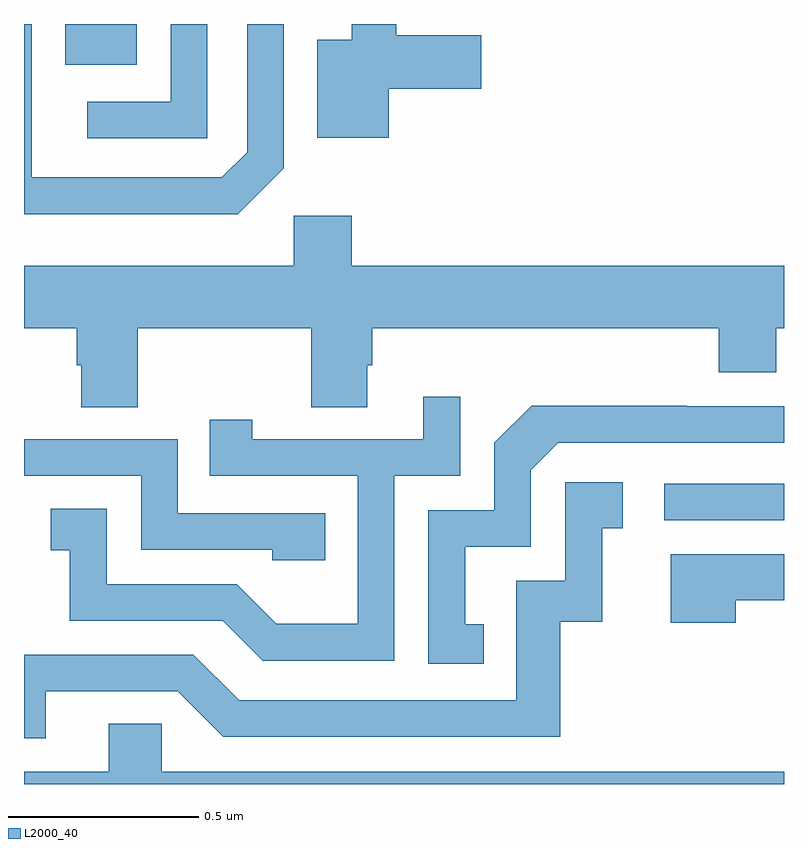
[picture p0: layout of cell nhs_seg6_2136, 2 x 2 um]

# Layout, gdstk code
import gdstk
lib = gdstk.Library(unit=1e-6, precision=1e-09)
def R(c, l, rs):  # rectangles x0, y0, x1, y1
    for r in rs: c.add(gdstk.rectangle(r[:2], r[2:], *l))
def P(c, l, *ps):  # polygons
    for p in ps: c.add(gdstk.Polygon(p, *l))
L2000_40 = (2000, 40)

nhs_seg6_2136 = lib.new_cell('nhs_seg6_2136')
R(nhs_seg6_2136, L2000_40, [(140.685,916.194,141,916.29), (139.109,917.393,139.297,917.5)])
P(nhs_seg6_2136, L2000_40, [(139.96,917.329),(140.203,917.329),(140.203,917.471),(139.979,917.471),(139.979,917.5),(139.862,917.5),(139.862,917.458),(139.772,917.458),(139.772,917.201),(139.96,917.201)],
  [(139.482,917.5),(139.386,917.5),(139.386,917.295),(139.167,917.295),(139.167,917.199),(139.482,917.199)],
  [(139.683,917.121),(139.683,917.5),(139.587,917.5),(139.587,917.163),(139.521,917.097),(139.021,917.097),(139.021,917.297),(139.02,917.297),(139.02,917.5),(139,917.5),(139,917),(139.562,917)],
  [(139.299,916.7),(139.756,916.7),(139.756,916.492),(139.903,916.492),(139.903,916.602),(139.916,916.602),(139.916,916.7),(140.828,916.7),(140.828,916.583),(140.98,916.583),(140.98,916.7),(141,916.7),(141,916.864),(139.862,916.864),(139.862,916.996),(139.71,916.996),(139.71,916.864),(139,916.864),(139,916.7),(139.139,916.7),(139.139,916.602),(139.151,916.602),(139.151,916.492),(139.299,916.492)],
  [(139.974,916.311),(140.148,916.311),(140.148,916.519),(140.051,916.519),(140.051,916.407),(139.6,916.407),(139.6,916.459),(139.489,916.459),(139.489,916.311),(139.878,916.311),(139.878,915.922),(139.664,915.922),(139.56,916.026),(139.218,916.026),(139.218,916.225),(139.071,916.225),(139.071,916.115),(139.12,916.115),(139.12,915.93),(139.523,915.93),(139.628,915.825),(139.974,915.825)],
  [(140.21,915.921),(140.161,915.921),(140.161,916.125),(140.334,916.125),(140.334,916.326),(140.406,916.398),(141,916.398),(141,916.494),(140.744,916.494),(140.744,916.496),(140.336,916.496),(140.238,916.398),(140.238,916.221),(140.064,916.221),(140.064,915.816),(140.21,915.816)],
  [(139.793,916.212),(139.404,916.212),(139.404,916.407),(139,916.407),(139,916.311),(139.308,916.311),(139.308,916.116),(139.653,916.116),(139.653,916.089),(139.793,916.089)],
  [(139.057,915.744),(139.404,915.744),(139.524,915.624),(140.411,915.624),(140.411,915.927),(140.522,915.927),(140.522,916.173),(140.575,916.173),(140.575,916.294),(140.424,916.294),(140.424,916.035),(140.295,916.035),(140.295,915.72),(139.566,915.72),(139.446,915.84),(139,915.84),(139,915.621),(139.057,915.621)],
  [(140.873,915.983),(141,915.983),(141,916.105),(140.702,916.105),(140.702,915.924),(140.873,915.924)],
  [(141,915.532),(139.362,915.532),(139.362,915.659),(139.223,915.659),(139.223,915.532),(139,915.532),(139,915.5),(141,915.5)])

lib.write_gds('nhs_seg6_2136.gds')
